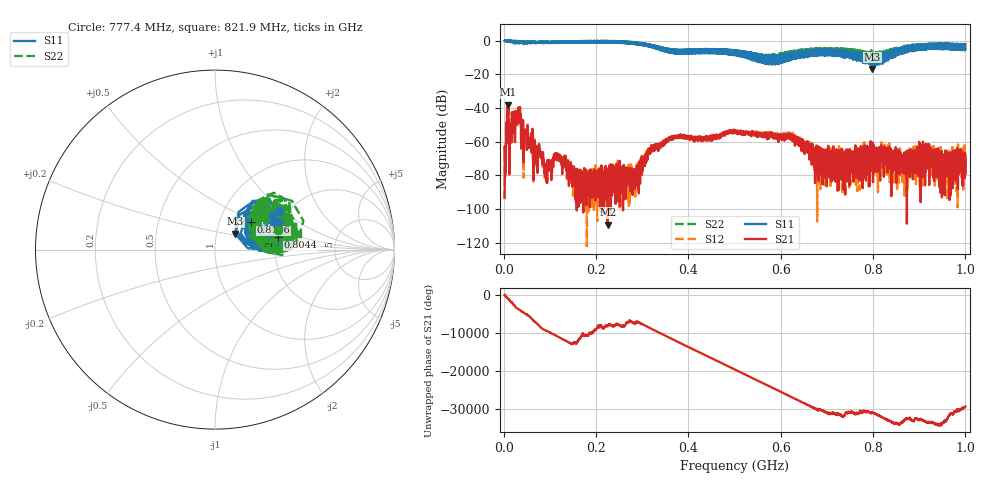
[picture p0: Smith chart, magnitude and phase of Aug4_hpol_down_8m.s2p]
!Keysight Technologies N9923A: A.12.45
!Date: Tuesday, 05 August 2025 18:05:50
!Timezone: (UTC+08:00) Kuala Lumpur, Singapore
!Model: N9923A
!Serial: MY61181427
!GPS Latitude:
!GPS Longitude:
!GPS TimeStamp: 0001-01-01 00:00:00Z
!GPS Seconds Since Last Read: 0
!CHECKSUM:1380101747
!Correction: S11(ON U)S21(ON U)S12(ON U)S22(ON U)
!S2P File: Measurements:S11,S21,S12,S22:
# Hz S DB R 50
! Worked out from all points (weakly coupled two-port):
!   4001 points, 2 MHz to 1 GHz, reference 50 ohm
!   highest |S21| = -38.09 dB at 8.736 MHz (marker M1); lowest = -109.3 dB at 225.3 MHz (marker M2)
!   lowest |S11| = -16.8 dB at 798.7 MHz (marker M3), VSWR 1.34, Z = 61.7 + j11.2 ohm
!   |S11| at or under -10 dB: 574.0315 MHz to 575.1116 MHz (1.08 MHz wide, 0.188 % of centre); 580.7936 MHz to 581.8726 MHz (1.079 MHz wide, 0.186 % of centre); 587.5719 MHz to 588.6051 MHz (1.033 MHz wide, 0.176 % of centre)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
!   |S22| runs from -13.8 to 0.1 dB; largest |S21 - S12| = 0.0011
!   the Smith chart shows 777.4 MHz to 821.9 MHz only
!   S11 on the Smith chart (normalised r, x): 777.4 MHz: 1.81, +0.94; 804.4 MHz: 2.05, +0.32; 813.6 MHz: 1.42, +0.46; 821.9 MHz: 1.70, +0.77
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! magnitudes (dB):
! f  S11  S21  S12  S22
! 2 MHz  -0.1  -93.1  -94.2  -0.1
! 8.736 MHz  -0.2  -38.1  -38.0  -0.9
! 30.69 MHz  -1.3  -43.8  -43.7  -0.6
! 90.82 MHz  -1.0  -75.3  -73.2  -1.0
! 116.5 MHz  -1.3  -69.3  -69.9  -1.2
! 168.4 MHz  -1.1  -89.0  -78.5  -0.9
! 225.3 MHz  -1.0  -109.3  -77.7  -0.6
! 287.7 MHz  -2.2  -79.7  -82.1  -2.1
! 334.8 MHz  -4.3  -65.6  -62.7  -4.9
! 501 MHz  -6.5  -53.2  -53.7  -7.3
! 617.8 MHz  -7.6  -57.4  -56.9  -6.7
! 667.4 MHz  -8.5  -69.6  -61.4  -7.6
! 777.4 MHz  -7.6  -87.7  -81.8  -8.6
! 798.7 MHz  -16.8  -64.2  -68.5  -8.6
! 804.4 MHz  -8.9  -68.3  -63.7  -11.0
! 813.6 MHz  -12.0  -64.3  -63.4  -6.9
! 821.9 MHz  -8.6  -70.0  -63.4  -6.6
! 833.8 MHz  -8.6  -71.0  -69.5  -5.7
! 864 MHz  -5.1  -73.7  -71.9  -3.8
! 912.7 MHz  -2.5  -86.0  -70.5  -2.6
! 953.3 MHz  -3.8  -72.1  -87.0  -1.7
! 1 GHz  -2.2  -72.0  -66.2  -3.9
